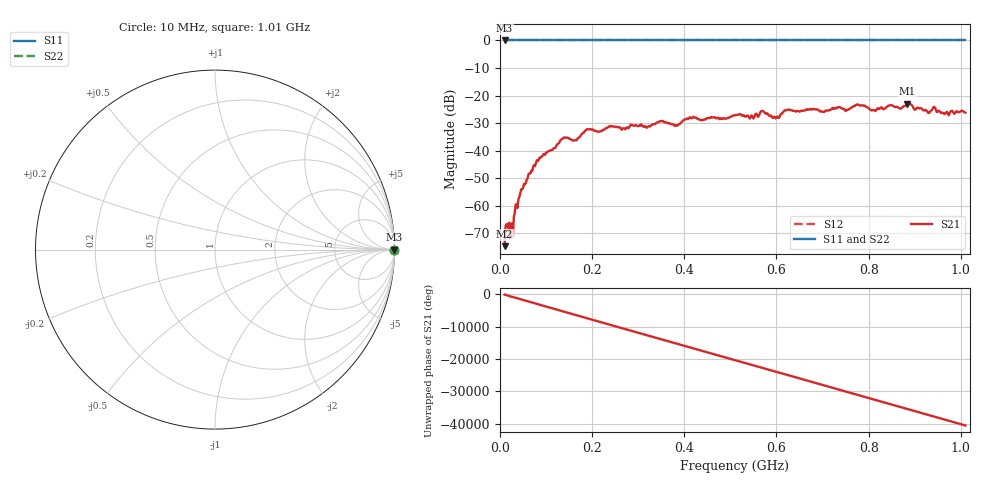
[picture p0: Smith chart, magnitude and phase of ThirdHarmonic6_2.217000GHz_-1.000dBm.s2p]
! 8/17/2025 2:24:39 AM
! C:\ANRITSUVNA\TEMP\TEMP.S2P
! CHANNEL.1
! TR.MEASUREMENT
! RAW.DATA
! RF.CORRECTION.OFF
! AVERAGING.OFF
! IF.BANDWIDTH: 5KHZ
! SWEEPTYPE:  FREQ.SWEEP(Linear)
! Reference Plane Port Info
! PORT:  PORT1  PORT2
! DISTANCE:  0  m  0  m
! TIME:  0  s  0  s
! PHASE.OFFSET:  0  deg.  0  deg.
! LOSS:  0  dB  0  dB
! REF.LOSS:  0  dB  0  dB
! REF.FREQ:  0  Hz  0  Hz
! Power Info
! POWER:  -20  dBm  -20  dBm
! EFF.POWER:  -20  dBm  -20  dBm
! SOURCE.ATTEN:  0  dB  0  dB
! TEST.ATTEN:  0  dB  0  dB
# GHZ S RI R 50.0
! FREQ.GHZ  S11RE  S11IM  S21RE  S21IM  S12RE  S12IM  S22RE  S22IM
!; PortSelection: Port_12
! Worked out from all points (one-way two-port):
!   501 points, 10 MHz to 1.01 GHz, reference 50 ohm
!   highest |S21| = -22.99 dB at 884 MHz (marker M1); lowest = -74.7 dB at 10 MHz (marker M2)
!   lowest |S11| = 0.0 dB at 10 MHz (marker M3)
!   |S11| at or under -10 dB: nowhere
!   |S22| runs from 0.0 to 0.0 dB; largest |S21 - S12| = 1.1
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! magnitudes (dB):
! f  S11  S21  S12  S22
! 10 MHz  0.0  -74.7  0.0  0.0
! 16 MHz  0.0  -66.7  0.0  0.0
! 26 MHz  0.0  -66.4  0.0  0.0
! 36 MHz  0.0  -59.5  0.0  0.0
! 48 MHz  0.0  -54.1  0.0  0.0
! 82 MHz  0.0  -43.8  0.0  0.0
! 136 MHz  0.0  -35.6  0.0  0.0
! 162 MHz  0.0  -36.3  0.0  0.0
! 178 MHz  0.0  -33.9  0.0  0.0
! 344 MHz  0.0  -29.7  0.0  0.0
! 382 MHz  0.0  -30.8  0.0  0.0
! 416 MHz  0.0  -28.3  0.0  0.0
! 510 MHz  0.0  -27.2  0.0  0.0
! 546 MHz  0.0  -27.2  0.0  0.0
! 570 MHz  0.0  -25.6  0.0  0.0
! 602 MHz  0.0  -27.6  0.0  0.0
! 622 MHz  0.0  -25.4  0.0  0.0
! 678 MHz  0.0  -25.0  0.0  0.0
! 844 MHz  0.0  -23.7  0.0  0.0
! 884 MHz  0.0  -23.0  0.0  0.0
! 930 MHz  0.0  -26.4  0.0  0.0
! 1.01 GHz  0.0  -26.2  0.0  0.0
